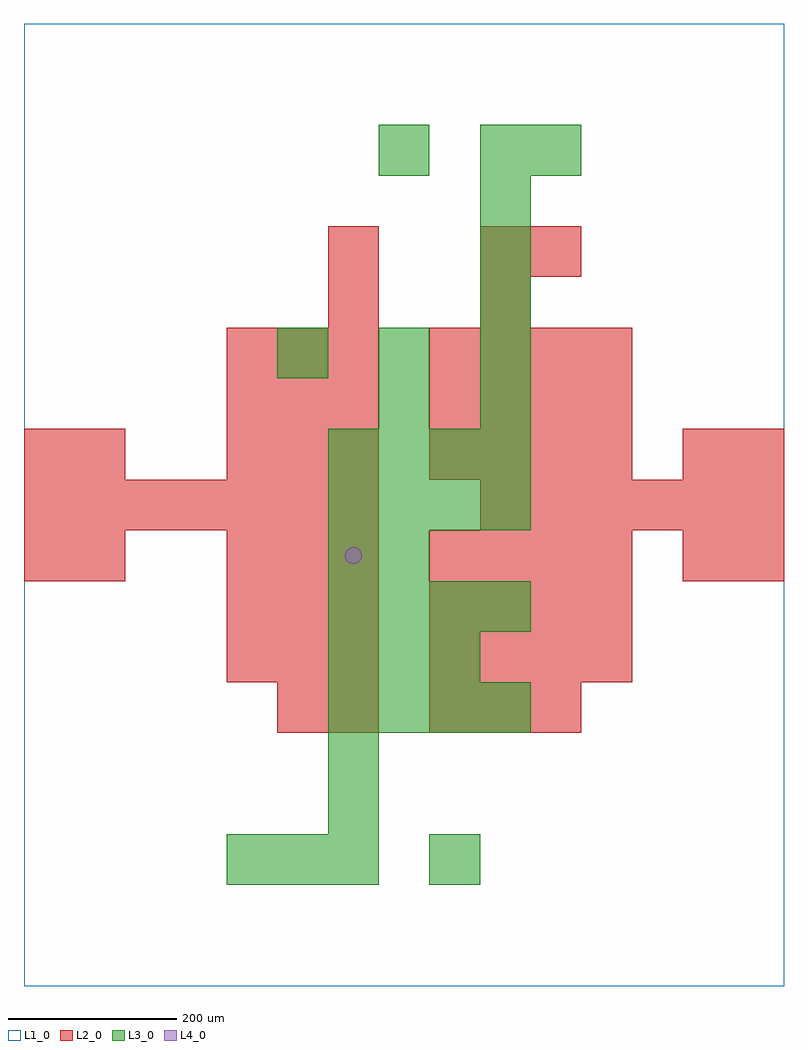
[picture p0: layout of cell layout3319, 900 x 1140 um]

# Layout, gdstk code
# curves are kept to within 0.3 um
import gdstk
lib = gdstk.Library(unit=1e-6, precision=1e-09)
def R(c, l, rs):  # rectangles x0, y0, x1, y1
    for r in rs: c.add(gdstk.rectangle(r[:2], r[2:], *l))
def A(c, l, x, y, w, h, nx, ny, dx, dy):  # array of equal rectangles
    R(c, l, [(x+i*dx, y+j*dy, x+i*dx+w, y+j*dy+h) for i in range(nx) for j in range(ny)])
def P(c, l, *ps):  # polygons
    for p in ps: c.add(gdstk.Polygon(p, *l))
L1_0 = (1, 0)
L2_0 = (2, 0)
L3_0 = (3, 0)
L4_0 = (4, 0)

layout3319 = lib.new_cell('layout3319')
R(layout3319, L1_0, [(0,0,900,1140)])
A(layout3319, L2_0, 480, 300, 60, 60, 3, 1, 60, 0)
A(layout3319, L2_0, 240, 360, 60, 60, 3, 3, 60, 60)
A(layout3319, L2_0, 480, 360, 60, 60, 4, 3, 60, 60)
A(layout3319, L2_0, 0, 540, 60, 60, 7, 1, 60, 0)
A(layout3319, L2_0, 540, 540, 60, 60, 6, 1, 60, 0)
A(layout3319, L2_0, 240, 600, 60, 60, 3, 3, 60, 60)
A(layout3319, L2_0, 480, 600, 60, 60, 4, 3, 60, 60)
R(layout3319, L2_0, [(300,300,360,360), (360,300,420,360), (0,480,60,540), (60,480,120,540), (780,480,840,540), (840,480,900,540), (0,600,60,660), (60,600,120,660), (780,600,840,660), (840,600,900,660), (360,780,420,840), (540,780,600,840), (360,840,420,900), (540,840,600,900), (600,840,660,900)])
A(layout3319, L3_0, 240, 120, 60, 60, 3, 1, 60, 0)
A(layout3319, L3_0, 360, 300, 60, 60, 4, 3, 60, 120)
A(layout3319, L3_0, 360, 360, 60, 60, 3, 1, 60, 0)
A(layout3319, L3_0, 360, 600, 60, 60, 4, 1, 60, 0)
A(layout3319, L3_0, 300, 720, 60, 60, 3, 1, 120, 0)
A(layout3319, L3_0, 540, 780, 60, 60, 1, 4, 0, 60)
R(layout3319, L3_0, [(480,120,540,180), (360,180,420,240), (360,240,420,300), (360,480,420,540), (420,480,480,540), (420,660,480,720), (540,660,600,720), (420,960,480,1020), (600,960,660,1020)])
P(layout3319, L4_0, [(400,510),(399.239,513.827),(397.071,517.071),(393.827,519.239),(390,520),(386.173,519.239),(382.929,517.071),(380.761,513.827),(380,510),(380.761,506.173),(382.929,502.929),(386.173,500.761),(390,500),(393.827,500.761),(397.071,502.929),(399.239,506.173)])

lib.write_gds('layout3319.gds')
